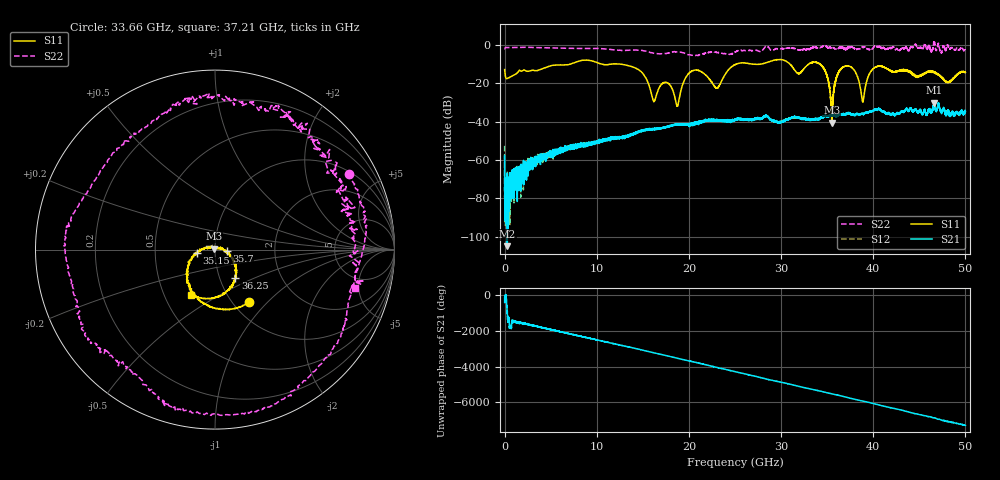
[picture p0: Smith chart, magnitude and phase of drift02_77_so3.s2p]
!Created with skrf (http://scikit-rf.org).
# Hz S RI R 50.0
!freq ReS11 ImS11 ReS21 ImS21 ReS12 ImS12 ReS22 ImS22
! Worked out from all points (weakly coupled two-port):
!   10001 points, 300 kHz to 50 GHz, reference 50 ohm
!   highest |S21| = -30.07 dB at 46.59 GHz (marker M1); lowest = -104.8 dB at 295.3 MHz (marker M2)
!   lowest |S11| = -40.6 dB at 35.49 GHz (marker M3), VSWR 1.02, Z = 49.3 + j0.582 ohm
!   |S11| at or under -10 dB: start of sweep to 7.178 GHz; 12.38 GHz to 25.16 GHz (12.78 GHz wide, 68.1 % of centre); 34.2 GHz to end of sweep (the widest 3 of 16)
!   |S22| runs from -5.7 to 2.2 dB; largest |S21 - S12| = 0.0033
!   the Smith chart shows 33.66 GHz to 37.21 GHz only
!   S11 on the Smith chart (normalised r, x): 33.66 GHz: 1.19, -0.80; 35.15 GHz: 0.82, -0.03; 35.7 GHz: 1.14, -0.01; 36.25 GHz: 1.19, -0.39; 37.21 GHz: 0.69, -0.37
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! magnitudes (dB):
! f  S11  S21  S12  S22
! 300 kHz  -12.9  -57.8  -52.6  -2.0
! 295.3 MHz  -17.5  -104.8  -66.3  -1.4
! 8.335 GHz  -8.2  -52.3  -52.1  -1.9
! 14.03 GHz  -11.8  -46.5  -45.9  -2.8
! 16.67 GHz  -23.4  -43.8  -43.8  -4.7
! 17.72 GHz  -19.9  -42.6  -42.6  -4.3
! 18.74 GHz  -32.0  -41.6  -41.3  -3.7
! 20.23 GHz  -13.9  -41.6  -41.1  -5.4
! 23.04 GHz  -22.5  -39.6  -39.4  -4.1
! 25 GHz  -10.4  -39.0  -39.2  -3.9
! 33.34 GHz  -9.3  -38.9  -38.6  -1.6
! 33.66 GHz  -9.1  -38.8  -38.8  -1.3
! 35.15 GHz  -19.7  -37.2  -37.1  -1.6
! 35.49 GHz  -40.6  -36.7  -36.7  -1.7
! 35.7 GHz  -23.8  -37.1  -36.6  -1.6
! 36.25 GHz  -14.3  -36.4  -36.4  -1.7
! 37.21 GHz  -11.0  -35.4  -35.7  -1.8
! 38.86 GHz  -29.8  -36.2  -36.0  -1.3
! 39.96 GHz  -12.7  -34.6  -34.6  -1.9
! 41.67 GHz  -13.0  -35.5  -35.4  -1.9
! 46.59 GHz  -14.1  -30.1  -30.3  1.8
! 50 GHz  -14.5  -34.8  -34.7  -2.7
